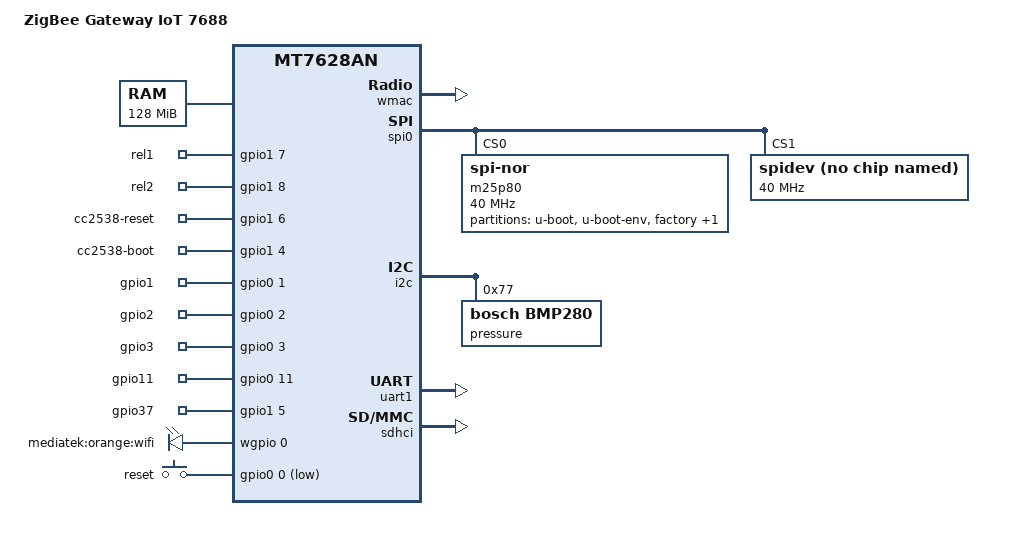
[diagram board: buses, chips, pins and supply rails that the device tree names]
/dts-v1/;

#include "mt7628an.dtsi"

#include <dt-bindings/gpio/gpio.h>
#include <dt-bindings/input/input.h>

/ {
	compatible = "zbgw,zbgw-iot", "mediatek,mt7628an-soc";
	model = "ZigBee Gateway IoT 7688";

	memory@0 {
		device_type = "memory";
		reg = <0x0 0x8000000>;
	};

	bootstrap {
		compatible = "mediatek,linkit";

		status = "okay";
	};

	gpio-export {
		compatible = "gpio-export";
		#size-cells = <0>;

		rel1 {
			gpio-export,name = "rel1";
			gpio-export,output = <0>;
			gpios = <&gpio1 7 GPIO_ACTIVE_HIGH>;
		};
		
		rel2 {
			gpio-export,name = "rel2";
			gpio-export,output = <0>;
			gpios = <&gpio1 8 GPIO_ACTIVE_HIGH>;
		};		
		
		cc2538-reset {
			gpio-export,name = "cc2538-reset";
			gpio-export,output = <1>;
			gpios = <&gpio1 6 GPIO_ACTIVE_HIGH>;
		};
		
		cc2538-boot {
			gpio-export,name = "cc2538-boot";
			gpio-export,output = <1>;
			gpios = <&gpio1 4 GPIO_ACTIVE_HIGH>;
		};
		
		gpio1 {
			gpio-export,name = "gpio1";
			gpio-export,direction_may_change = <1>;
			gpios = <&gpio0 1 GPIO_ACTIVE_HIGH>;
		};
		
		gpio2 {
			gpio-export,name = "gpio2";
			gpio-export,direction_may_change = <1>;
			gpios = <&gpio0 2 GPIO_ACTIVE_HIGH>;
		};
		
		gpio3 {
			gpio-export,name = "gpio3";
			gpio-export,direction_may_change = <1>;
			gpios = <&gpio0 3 GPIO_ACTIVE_HIGH>;
		};
		
		gpio11 {
			gpio-export,name = "gpio11";
			gpio-export,direction_may_change = <1>;
			gpios = <&gpio0 11 GPIO_ACTIVE_HIGH>;
		};

		gpio37 {
			gpio-export,name = "gpio37";
			gpio-export,direction_may_change = <1>;
			gpios = <&gpio1 5 GPIO_ACTIVE_HIGH>;
		};		
	};

	gpio-leds {
		compatible = "gpio-leds";

		wifi {
			label = "mediatek:orange:wifi";
			gpios = <&wgpio 0 GPIO_ACTIVE_HIGH>;
			default-state = "on";
		};
	};

	gpio-keys-polled {
		compatible = "gpio-keys-polled";
		#address-cells = <1>;
		#size-cells = <0>;
		poll-interval = <20>;

		wps {
			label = "reset";
			gpios = <&gpio0 0 GPIO_ACTIVE_LOW>;
			linux,code = <KEY_WPS_BUTTON>;
		};
	};

	wgpio: gpio-wifi {
		compatible = "mediatek,gpio-wifi";
		#address-cells = <1>;
		#size-cells = <0>;
		gpio-controller;
		#gpio-cells = <2>;
	};
};

&pinctrl {
	state_default: pinctrl0 {
		gpio {
			ralink,group = "gpio";
			ralink,function = "gpio";
		};

		perst {
			ralink,group = "perst";
			ralink,function = "gpio";
		};

		refclk {
			ralink,group = "refclk";
			ralink,function = "gpio";
		};

		i2s {
			ralink,group = "i2s";
			ralink,function = "gpio";
		};

		spis {
			ralink,group = "spis";
			ralink,function = "gpio";
		};

		wled_kn {
			ralink,group = "wled_kn";
			ralink,function = "gpio";
		};

		wled_an {
			ralink,group = "wled_an";
			ralink,function = "wled_an";
		};

		wdt {
			ralink,group = "wdt";
			ralink,function = "gpio";
		};
	};
};

&wmac {
	status = "okay";
};

&spi0 {
	status = "okay";

	pinctrl-names = "default";
	pinctrl-0 = <&spi_pins>, <&spi_cs1_pins>;

	m25p80@0 {
		#address-cells = <1>;
		#size-cells = <1>;
		compatible = "jedec,spi-nor";
		reg = <0>;
		spi-max-frequency = <40000000>;
		m25p,chunked-io = <31>;

		partition@0 {
			label = "u-boot";
			reg = <0x0 0x30000>;
			read-only;
		};

		partition@30000 {
			label = "u-boot-env";
			reg = <0x30000 0x10000>;
		};

		factory: partition@40000 {
			label = "factory";
			reg = <0x40000 0x10000>;
			read-only;
		};

		partition@50000 {
			label = "firmware";
			reg = <0x50000 0x1fb0000>;
		};
	};

	spidev@1 {
		#address-cells = <1>;
		#size-cells = <1>;
		compatible = "linux,spidev";
		reg = <1>;
		spi-max-frequency = <40000000>;
	};
};

&i2c {
	status = "okay";
	
	pressure@77 {
		compatible = "bosch,bmp280";
		reg = <0x77>;
		temp-measurement-period = <500>;
		default-oversampling = <2>;		
	};
};

&uart1 {
	status = "okay";
};

&ethernet {
	mtd-mac-address = <&factory 0x28>;
};

&esw {
	mediatek,portdisable = <0x38>;
};

&sdhci {
	status = "okay";
	mediatek,cd-low;
};
